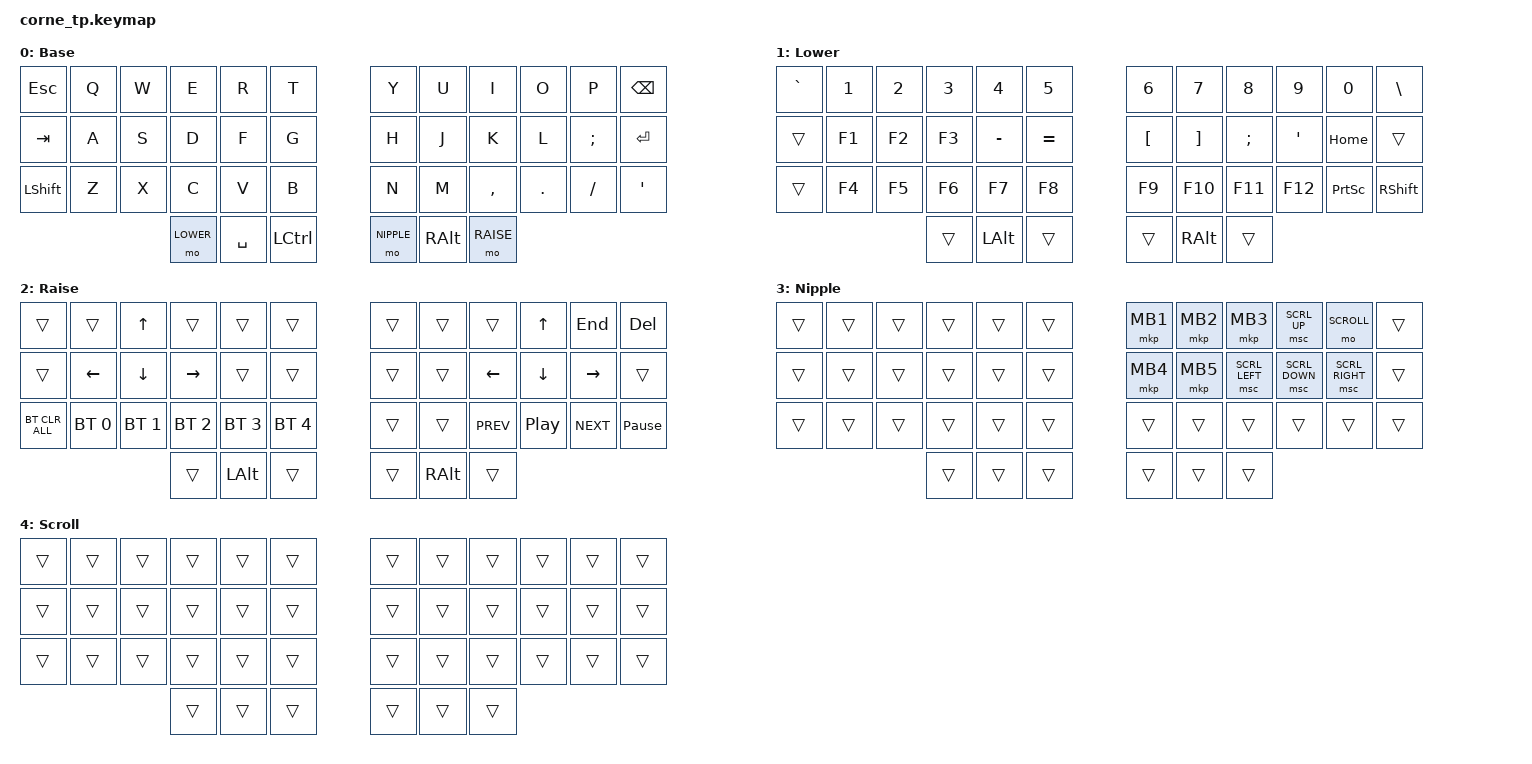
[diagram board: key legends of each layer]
/*
 * Copyright (c) 2020 The ZMK Contributors
 *
 * SPDX-License-Identifier: MIT
 */

#include <behaviors.dtsi>
#include <dt-bindings/zmk/keys.h>
#include <dt-bindings/zmk/bt.h>

#define BASE 0
#define LOWER 1
#define RAISE 2
#define NIPPLE 3
#define SCROLL 4

/*
 * Defines to enable/disable features
 *
 * These defines allow us to conditionally enable and disable parts of the keymap config.
 *
 * For example, if we decide to build the firmware without the mouse features, we can
 * disable all the config options that rely on those forks and modules without having
 * to edit the entire keymap file manually every time.
 */

#define HAS_MOUSE_KEYS
#define HAS_MOUSE_TP

#ifdef HAS_MOUSE_KEYS
  #include <dt-bindings/zmk/mouse.h>
  #include <behaviors/mouse_keys.dtsi>
#endif  // HAS_MOUSE_KEYS

#ifdef HAS_MOUSE_TP
  // We store the trackpoint settings in a separate file
  // to make organization a little easier.
  #include "include/mouse_tp.dtsi"
  // #define U_TOG_TP_SET &tog MOUSE_TP_SET
#else
  // #define U_TOG_TP_SET &none
#endif  // HAS_MOUSE_TP



// Adjust layer keys based on enabled features.
//
// This prevents build errors when we build the firmware
// without the mouse keys PR or the TP module.
#ifdef HAS_MOUSE_KEYS
  #define U_THUMB_INNER &mo NIPPLE
#else
  #define U_THUMB_INNER &none
#endif  // HAS_MOUSE_KEYS

// Disable line-wrap in your editor to see a "visualization" of the key layouts
/ {

  keymap {
    compatible = "zmk,keymap";

    Base_layer {
      display-name = "Base";
      bindings = <
// ╭────────────────────────┬────────────────────────┬────────────────────────┬────────────────────────┬────────────────────────┬────────────────────────╮    ╭────────────────────────┬────────────────────────┬────────────────────────┬───────────────────────┬────────────────────────┬────────────────────────╮
     &kp ESC                  &kp Q                    &kp W                    &kp E                    &kp R                    &kp T                         &kp Y                    &kp U                    &kp I                    &kp O                    &kp P                    &kp BSPC
// ├────────────────────────┼────────────────────────┼────────────────────────┼────────────────────────┼────────────────────────┼────────────────────────┤    ├────────────────────────┼────────────────────────┼────────────────────────┼───────────────────────┼────────────────────────┼────────────────────────┤
     &kp TAB                  &kp A                    &kp S                    &kp D                    &kp F                    &kp G                         &kp H                    &kp J                    &kp K                    &kp L                    &kp SEMI                 &kp RET
// ├────────────────────────┼────────────────────────┼────────────────────────┼────────────────────────┼────────────────────────┼────────────────────────┤    ├────────────────────────┼────────────────────────┼────────────────────────┼───────────────────────┼────────────────────────┼────────────────────────┤
     &kp LSHFT                &kp Z                    &kp X                    &kp C                    &kp V                    &kp B                         &kp N                    &kp M                    &kp COMMA                &kp DOT                  &kp SLASH                &kp SQT
// ╰────────────────────────┴────────────────────────┴────────────────────────┴────────────────────────┼────────────────────────┼────────────────────────┤    ├────────────────────────┼────────────────────────┼────────────────────────┼───────────────────────┼────────────────────────┼────────────────────────╯
                                                                                &mo LOWER                &kp SPACE                &kp LCTRL                     U_THUMB_INNER            &kp RALT                 &mo RAISE
//                                                                            ╰────────────────────────┴────────────────────────┴────────────────────────╯    ╰────────────────────────┴────────────────────────┴────────────────────────╯

      >;
    };


    Lower_layer {
      display-name = "Lower";
      bindings = <
// ╭────────────────────────┬────────────────────────┬────────────────────────┬────────────────────────┬────────────────────────┬────────────────────────╮    ╭────────────────────────┬────────────────────────┬────────────────────────┬────────────────────────┬────────────────────────┬────────────────────────╮
     &kp GRAVE                &kp NUMBER_1             &kp NUMBER_2             &kp NUMBER_3             &kp NUMBER_4             &kp NUMBER_5                  &kp NUMBER_6             &kp NUMBER_7             &kp NUMBER_8             &kp NUMBER_9             &kp NUMBER_0              &kp BACKSLASH
// ├────────────────────────┼────────────────────────┼────────────────────────┼────────────────────────┼────────────────────────┼────────────────────────┤    ├────────────────────────┼────────────────────────┼────────────────────────┼────────────────────────┼────────────────────────┼────────────────────────┤
     &trans                   &kp F1                   &kp F2                   &kp F3                   &kp MINUS                &kp EQUAL                     &kp LEFT_BRACKET         &kp RIGHT_BRACKET        &kp SEMICOLON            &kp APOSTROPHE           &kp HOME                  &trans
// ├────────────────────────┼────────────────────────┼────────────────────────┼────────────────────────┼────────────────────────┼────────────────────────┤    ├────────────────────────┼────────────────────────┼────────────────────────┼────────────────────────┼────────────────────────┼────────────────────────┤
     &trans                   &kp F4                   &kp F5                   &kp F6                   &kp F7                   &kp F8                        &kp F9                   &kp F10                  &kp F11                  &kp F12                  &kp PRINTSCREEN           &kp RSHFT
// ╰────────────────────────┴────────────────────────┴────────────────────────┴────────────────────────┼────────────────────────┼────────────────────────┤    ├────────────────────────┼────────────────────────┼────────────────────────┼────────────────────────┴────────────────────────┼────────────────────────╯
                                                                                &trans                   &kp LALT                 &trans                        &trans                   &kp RALT                 &trans
//                                                                            ╰────────────────────────┴────────────────────────┴────────────────────────╯    ╰────────────────────────┴────────────────────────┴────────────────────────╯
      >;
    };

     Raise_layer {
      display-name = "Raise";
      bindings = <
// ╭────────────────────────┬────────────────────────┬────────────────────────┬────────────────────────┬────────────────────────┬────────────────────────╮    ╭────────────────────────┬────────────────────────┬────────────────────────┬────────────────────────┬────────────────────────┬────────────────────────╮
     &trans                   &trans                   &kp UP                   &trans                   &trans                   &trans                        &trans                   &trans                   &trans                   &kp UP                   &kp END                  &kp DEL
// ├────────────────────────┼────────────────────────┼────────────────────────┼────────────────────────┼────────────────────────┼────────────────────────┤    ├────────────────────────┼────────────────────────┼────────────────────────┼────────────────────────┼────────────────────────┼────────────────────────┤
     &trans                   &kp LEFT                 &kp DOWN                 &kp RIGHT                &trans                   &trans                        &trans                   &trans                   &kp LEFT                 &kp DOWN                 &kp RIGHT                &trans
// ├────────────────────────┼────────────────────────┼────────────────────────┼────────────────────────┼────────────────────────┼────────────────────────┤    ├────────────────────────┼────────────────────────┼────────────────────────┼────────────────────────┼────────────────────────┼────────────────────────┤
     &bt BT_CLR_ALL           &bt BT_SEL 0             &bt BT_SEL 1             &bt BT_SEL 2             &bt BT_SEL 3             &bt BT_SEL 4                  &trans                   &trans                   &kp C_PREV               &kp C_PP                 &kp C_NEXT               &kp PAUSE_BREAK
// ╰────────────────────────┴────────────────────────┴────────────────────────┴────────────────────────┼────────────────────────┼────────────────────────┤    ├────────────────────────┼────────────────────────┼────────────────────────┼────────────────────────┴────────────────────────┼────────────────────────╯
                                                                                &trans                   &kp LALT                 &trans                        &trans                   &kp RALT                 &trans
//                                                                            ╰────────────────────────┴────────────────────────┴────────────────────────╯    ╰────────────────────────┴────────────────────────┴────────────────────────╯
      >;
    };

#ifdef HAS_MOUSE_KEYS

    Nipple_layer {
      display-name = "Nipple";
      bindings = <
// ╭────────────────────────┬────────────────────────┬────────────────────────┬────────────────────────┬────────────────────────┬────────────────────────╮    ╭────────────────────────┬────────────────────────┬────────────────────────┬────────────────────────┬────────────────────────┬────────────────────────╮
     &trans                   &trans                   &trans                   &trans                   &trans                   &trans                        &mkp MB1                 &mkp MB2                 &mkp MB3                 &msc SCRL_UP             &mo SCROLL               &trans
// ├────────────────────────┼────────────────────────┼────────────────────────┼────────────────────────┼────────────────────────┼────────────────────────┤    ├────────────────────────┼────────────────────────┼────────────────────────┼────────────────────────┼────────────────────────┼────────────────────────┤
     &trans                   &trans                   &trans                   &trans                   &trans                   &trans                        &mkp MB4                 &mkp MB5                 &msc SCRL_LEFT           &msc SCRL_DOWN           &msc SCRL_RIGHT          &trans
// ├────────────────────────┼────────────────────────┼────────────────────────┼────────────────────────┼────────────────────────┼────────────────────────┤    ├────────────────────────┼────────────────────────┼────────────────────────┼────────────────────────┼────────────────────────┼────────────────────────┤
     &trans                   &trans                   &trans                   &trans                   &trans                   &trans                        &trans                   &trans                   &trans                   &trans                   &trans                   &trans
// ╰────────────────────────┴────────────────────────┴────────────────────────┴────────────────────────┼────────────────────────┼────────────────────────┤    ├────────────────────────┼────────────────────────┼────────────────────────┼────────────────────────┴────────────────────────┼────────────────────────╯
                                                                                &trans                   &trans                   &trans                        &trans                   &trans                   &trans
//                                                                            ╰────────────────────────┴────────────────────────┴────────────────────────╯    ╰────────────────────────┴────────────────────────┴────────────────────────╯
      >;
    };

#endif

     Scroll_layer {
      display-name = "Scroll";
      bindings = <
// ╭────────────────────────┬────────────────────────┬────────────────────────┬────────────────────────┬────────────────────────┬────────────────────────╮    ╭────────────────────────┬────────────────────────┬────────────────────────┬────────────────────────┬────────────────────────┬────────────────────────╮
     &trans                   &trans                   &trans                   &trans                   &trans                   &trans                        &trans                   &trans                   &trans                   &trans                   &trans                   &trans
// ├────────────────────────┼────────────────────────┼────────────────────────┼────────────────────────┼────────────────────────┼────────────────────────┤    ├────────────────────────┼────────────────────────┼────────────────────────┼────────────────────────┼────────────────────────┼────────────────────────┤
     &trans                   &trans                   &trans                   &trans                   &trans                   &trans                        &trans                   &trans                   &trans                   &trans                   &trans                   &trans
// ├────────────────────────┼────────────────────────┼────────────────────────┼────────────────────────┼────────────────────────┼────────────────────────┤    ├────────────────────────┼────────────────────────┼────────────────────────┼────────────────────────┼────────────────────────┼────────────────────────┤
     &trans                   &trans                   &trans                   &trans                   &trans                   &trans                        &trans                   &trans                   &trans                   &trans                   &trans                   &trans
// ╰────────────────────────┴────────────────────────┴────────────────────────┴────────────────────────┼────────────────────────┼────────────────────────┤    ├────────────────────────┼────────────────────────┼────────────────────────┼────────────────────────┴────────────────────────┼────────────────────────╯
                                                                                &trans                   &trans                   &trans                        &trans                   &trans                   &trans
//                                                                            ╰────────────────────────┴────────────────────────┴────────────────────────╯    ╰────────────────────────┴────────────────────────┴────────────────────────╯
      >;
    };
  };
};
